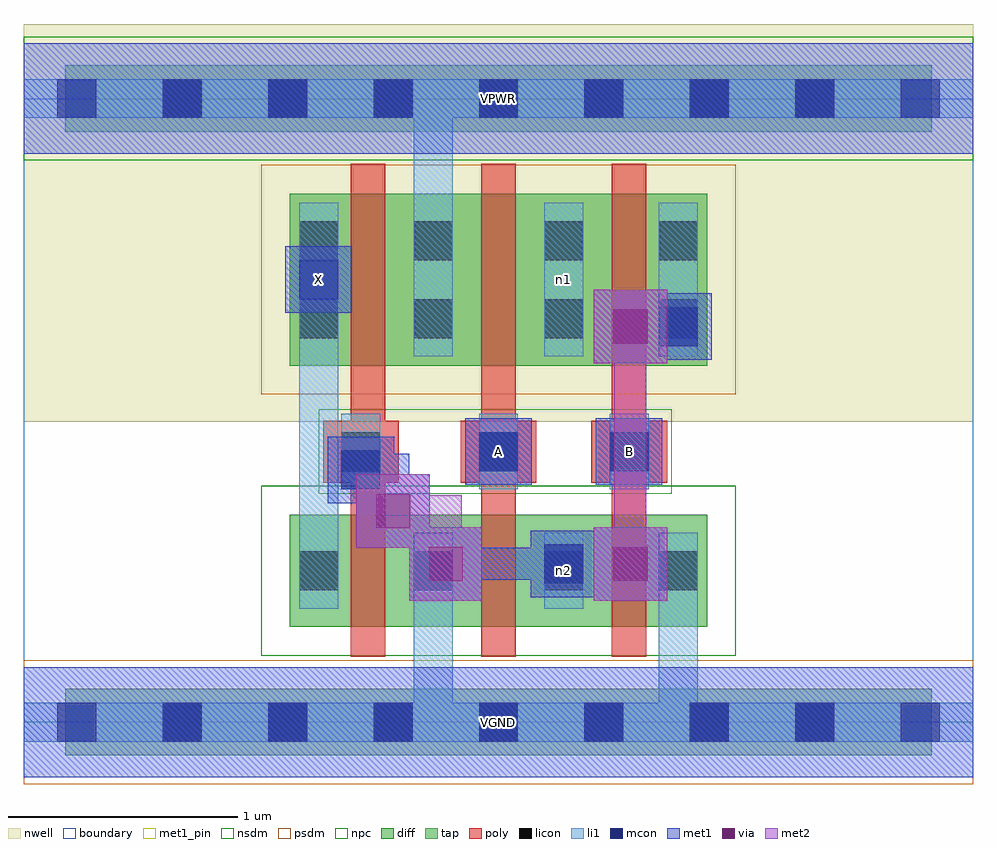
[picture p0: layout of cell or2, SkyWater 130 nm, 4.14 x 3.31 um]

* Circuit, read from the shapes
.subckt or2 A B VGND VPWR X n1 n2
XM1 VGND n2 X VGND sky130_fd_pr__nfet_01v8 w=0.49 l=0.15
XM2 n2 A VGND VGND sky130_fd_pr__nfet_01v8 w=0.49 l=0.15
XM3 VGND B n2 VGND sky130_fd_pr__nfet_01v8 w=0.49 l=0.15
XM4 VPWR n2 X VPWR sky130_fd_pr__pfet_01v8 w=0.75 l=0.15
XM5 n1 A VPWR VPWR sky130_fd_pr__pfet_01v8 w=0.75 l=0.15
XM6 n2 B n1 VPWR sky130_fd_pr__pfet_01v8 w=0.75 l=0.15
.ends

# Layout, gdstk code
import gdstk
lib = gdstk.Library(unit=1e-6, precision=1e-09)
def R(c, l, rs):  # rectangles x0, y0, x1, y1
    for r in rs: c.add(gdstk.rectangle(r[:2], r[2:], *l))
def A(c, l, x, y, w, h, nx, ny, dx, dy):  # array of equal rectangles
    R(c, l, [(x+i*dx, y+j*dy, x+i*dx+w, y+j*dy+h) for i in range(nx) for j in range(ny)])
nwell = (64, 20)
diff = (65, 20)
tap = (65, 44)
poly = (66, 20)
licon = (66, 44)
li1 = (67, 20)
mcon = (67, 44)
met1_pin = (68, 16)
met1 = (68, 20)
via = (68, 44)
met2 = (69, 20)
nsdm = (93, 44)
psdm = (94, 20)
npc = (95, 20)
boundary = (235, 4)

or2 = lib.new_cell('or2')
R(or2, nwell, [(0,1.31,4.14,3.045)])
R(or2, diff, [(1.16,0.415,2.98,0.905), (1.16,1.555,2.98,2.305)])
R(or2, tap, [(0.18,-0.145,3.96,0.145), (0.18,2.575,3.96,2.865)])
A(or2, poly, 1.425, 0.285, 0.15, 2.15, 3, 1, 0.57, 0)
R(or2, poly, [(1.305,1.045,1.635,1.315), (1.905,1.045,2.235,1.315), (2.475,1.045,2.805,1.315)])
A(or2, licon, 0.605, -0.085, 0.17, 0.17, 7, 2, 0.46, 2.72)
R(or2, licon, [(1.2,0.575,1.37,0.745), (1.7,0.575,1.87,0.745), (2.27,0.575,2.44,0.745), (2.77,0.575,2.94,0.745), (1.385,1.095,1.555,1.265), (1.985,1.095,2.155,1.265), (2.555,1.095,2.725,1.265), (1.2,1.675,1.37,1.845), (1.7,1.675,1.87,1.845), (2.27,1.675,2.44,1.845), (2.77,1.675,2.94,1.845), (1.2,2.015,1.37,2.185), (1.7,2.015,1.87,2.185), (2.27,2.015,2.44,2.185), (2.77,2.015,2.94,2.185)])
R(or2, li1, [(0,-0.085,4.14,0.085), (1.7,-0.085,1.87,0.825), (2.77,-0.085,2.94,0.825), (1.2,0.495,1.37,0.825), (1.2,0.495,1.37,2.265), (1.7,0.495,1.87,0.825), (2.27,0.495,2.44,0.825), (2.77,0.495,2.94,0.825), (1.385,1.015,1.555,1.345), (1.985,1.015,2.155,1.345), (2.555,1.015,2.725,1.345), (1.2,1.595,1.37,2.265), (1.7,1.595,1.87,2.265), (1.7,1.595,1.87,2.805), (2.27,1.595,2.44,2.265), (2.77,1.595,2.94,2.265), (0,2.635,4.14,2.805)])
A(or2, mcon, 0.145, -0.085, 0.17, 0.17, 9, 2, 0.46, 2.72)
R(or2, mcon, [(2.27,0.605,2.44,0.775), (1.385,1.015,1.555,1.185), (1.985,1.095,2.155,1.265), (2.555,1.095,2.725,1.265), (2.77,1.64,2.94,1.81), (1.2,1.845,1.37,2.015)])
R(or2, met1_pin, [(0,-0.24,4.14,0.24), (1.925,1.035,2.215,1.325), (2.495,1.035,2.785,1.325), (1.14,1.785,1.43,2.075), (0,2.48,4.14,2.96)])
R(or2, met1, [(0,-0.24,4.14,0.24), (1.68,0.53,2,0.85), (2.485,0.53,2.805,0.85), (2.21,0.545,2.5,0.835), (1.77,0.62,2.255,0.76), (2.115,0.62,2.425,0.76), (2.115,0.62,2.715,0.76), (1.45,0.76,1.77,1.08), (1.54,0.85,1.68,1.17), (1.325,0.955,1.615,1.245), (1.4,1.03,1.68,1.17), (1.925,1.035,2.215,1.325), (2.495,1.035,2.785,1.325), (2.485,1.565,2.805,1.885), (2.71,1.58,3,1.87), (2.575,1.655,2.83,1.795), (2.69,1.655,2.925,1.795), (1.14,1.785,1.43,2.075), (0,2.48,4.14,2.96)])
R(or2, via, [(1.765,0.615,1.915,0.765), (2.57,0.615,2.72,0.765), (1.535,0.845,1.685,0.995), (2.57,1.65,2.72,1.8)])
R(or2, met2, [(1.68,0.53,2,0.85), (2.485,0.53,2.805,0.85), (1.77,0.62,1.91,0.99), (2.575,0.62,2.715,1.795), (1.45,0.76,1.77,1.08), (1.54,0.85,1.91,0.99), (2.485,1.565,2.805,1.885)])
R(or2, nsdm, [(1.035,0.29,3.105,1.03), (0,2.45,4.14,2.99)])
R(or2, psdm, [(0,-0.27,4.14,0.27), (1.035,1.43,3.105,2.43)])
R(or2, npc, [(1.285,0.995,2.825,1.365)])
R(or2, boundary, [(0,0,4.14,2.72)])
or2.add(gdstk.Label('n2', (2.355,0.66), layer=67, texttype=5))
or2.add(gdstk.Label('n1', (2.355,1.93), layer=67, texttype=5))
or2.add(gdstk.Label('A', (2.07,1.18), layer=68, texttype=5))
or2.add(gdstk.Label('B', (2.64,1.18), layer=68, texttype=5))
or2.add(gdstk.Label('X', (1.285,1.93), layer=68, texttype=5))
or2.add(gdstk.Label('VPWR', (2.07,2.72), layer=68, texttype=5))
or2.add(gdstk.Label('VGND', (2.07,0), layer=68, texttype=5))
or2.add(gdstk.Label('A', (2.07,1.18), layer=68, texttype=16))
or2.add(gdstk.Label('B', (2.64,1.18), layer=68, texttype=16))
or2.add(gdstk.Label('X', (1.285,1.93), layer=68, texttype=16))
or2.add(gdstk.Label('VPWR', (2.07,2.72), layer=68, texttype=16))
or2.add(gdstk.Label('VGND', (2.07,0), layer=68, texttype=16))

lib.write_gds('or2.gds')
